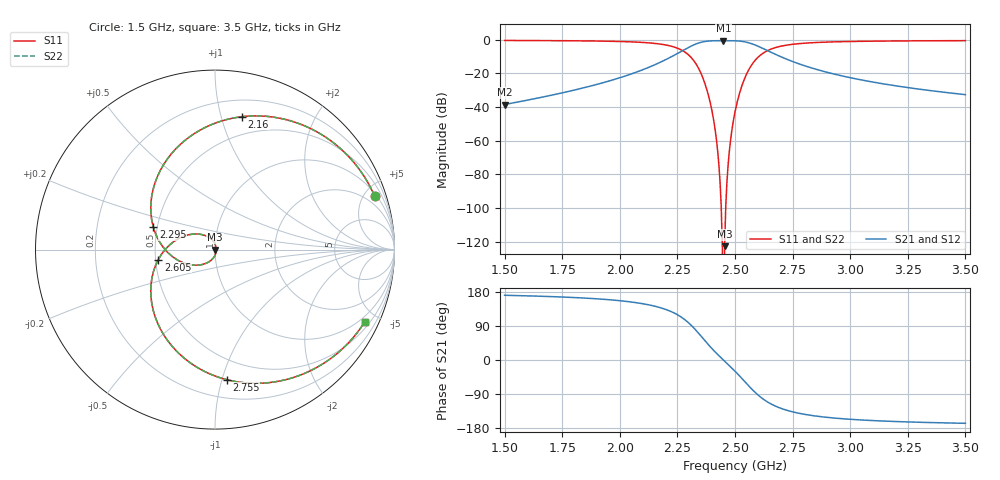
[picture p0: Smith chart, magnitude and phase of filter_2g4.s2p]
! 2.45 GHz Bandpass Filter - synthesized example data
! 2-port S-parameters, 50 ohm reference
# Hz S RI R 50
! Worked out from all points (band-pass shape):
!   401 points, 1.5 GHz to 3.5 GHz, reference 50 ohm
!   highest |S21| = -0.70 dB at 2.45 GHz (marker M1); lowest = -38.6 dB at 1.5 GHz (marker M2)
!   |S21| within 3 dB of the highest: 2.313 GHz to 2.595 GHz (282.5 MHz wide, 11.5 % of centre)
!   lowest |S11| = -122.6 dB at 2.455 GHz (marker M3), VSWR 1.00, Z = 50 + j7.37e-06 ohm
!   |S11| at or under -10 dB: 2.305 GHz to 2.604 GHz (298.9 MHz wide, 12.2 % of centre)
!   |S22| runs from - to -0.6 dB; largest |S21 - S12| = 0
!   S11 on the Smith chart (normalised r, x): 1.5 GHz: 1.21, +5.94; 2.16 GHz: 0.34, +1.17; 2.295 GHz: 0.48, +0.14; 2.605 GHz: 0.52, -0.06; 2.755 GHz: 0.34, -1.04; 3.5 GHz: 0.74, -4.23
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1.5e9  0.8899 0.296  -0.0116 0.00189  -0.0116 0.00189  0.8899 0.296
1.835e9  0.7717 0.4882  -0.0343 0.00995  -0.0343 0.00995  0.7717 0.4882
2.025e9  0.5532 0.6639  -0.0755 0.0353  -0.0755 0.0353  0.5532 0.6639
2.16e9  0.1508 0.7406  -0.1461 0.1193  -0.1461 0.1193  0.1508 0.7406
2.17e9  0.106 0.7337  -0.1532 0.1326  -0.1532 0.1326  0.106 0.7337
2.235e9  -0.219 0.5606  -0.1907 0.2792  -0.1907 0.2792  -0.219 0.5606
2.295e9  -0.3439 0.1258  -0.0989 0.5583  -0.0989 0.5583  -0.3439 0.1258
2.34e9  -0.1193 -0.0868  0.241 0.741  0.241 0.741  -0.1193 -0.0868
2.375e9  -0.00266 -0.0375  0.604 0.6483  0.604 0.6483  -0.00266 -0.0375
2.405e9  0.00297 -0.00404  0.8187 0.4146  0.8187 0.4146  0.00297 -0.00404
2.435e9  5.81e-05 -1.81e-05  0.912 0.1388  0.912 0.1388  5.81e-05 -1.81e-05
2.45e9  0 0  0.9226 0  0.9226 0  0 0
2.455e9  7.35e-07 7.37e-08  0.9214 -0.0461  0.9214 -0.0461  7.35e-07 7.37e-08
2.47e9  0.000172 7.29e-05  0.9039 -0.1837  0.9039 -0.1837  0.000172 7.29e-05
2.5e9  0.00365 0.00603  0.7976 -0.4499  0.7976 -0.4499  0.00365 0.00603
2.545e9  -0.0364 0.0698  0.4388 -0.7235  0.4388 -0.7235  -0.0364 0.0698
2.605e9  -0.3159 -0.0554  -0.053 -0.6088  -0.053 -0.6088  -0.3159 -0.0554
2.68e9  -0.2413 -0.5357  -0.1911 -0.2956  -0.1911 -0.2956  -0.2413 -0.5357
2.755e9  0.0649 -0.7246  -0.1595 -0.1458  -0.1595 -0.1458  0.0649 -0.7246
2.835e9  0.3164 -0.7394  -0.1182 -0.078  -0.1182 -0.078  0.3164 -0.7394
3.17e9  0.7264 -0.5371  -0.043 -0.0142  -0.043 -0.0142  0.7264 -0.5371
3.5e9  0.8332 -0.4044  -0.0226 -0.00519  -0.0226 -0.00519  0.8332 -0.4044
